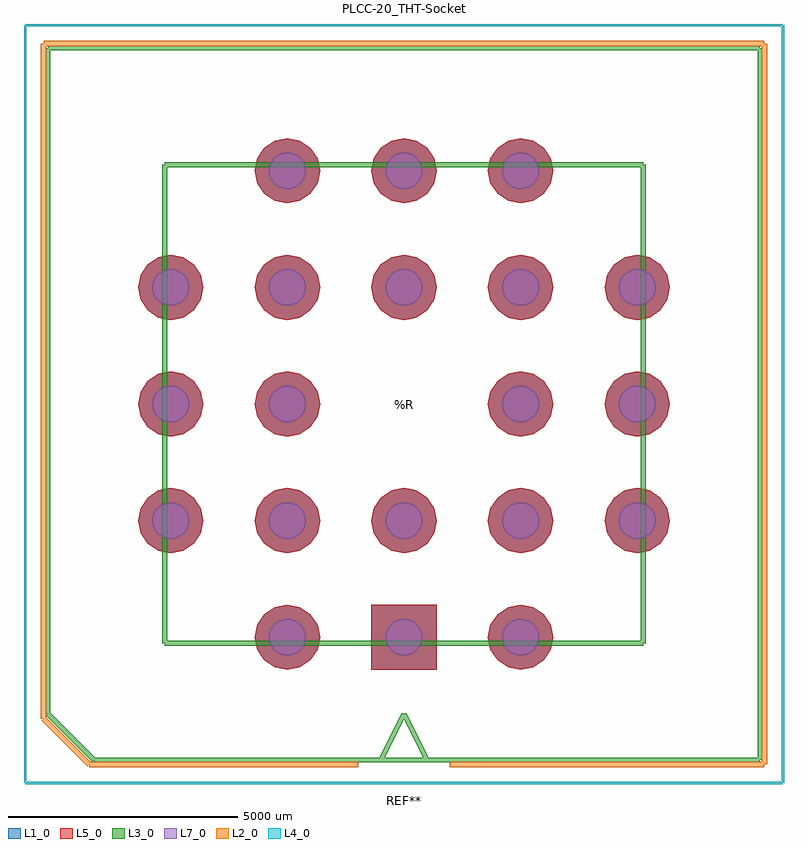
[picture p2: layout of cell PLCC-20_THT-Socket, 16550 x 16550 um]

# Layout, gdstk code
import gdstk
lib = gdstk.Library(unit=1e-6, precision=1e-09)
def R(c, l, rs):  # rectangles x0, y0, x1, y1
    for r in rs: c.add(gdstk.rectangle(r[:2], r[2:], *l))
def P(c, l, *ps):  # polygons
    for p in ps: c.add(gdstk.Polygon(p, *l))
L1_0 = (1, 0)
L2_0 = (2, 0)
L3_0 = (3, 0)
L4_0 = (4, 0)
L5_0 = (5, 0)
L7_0 = (7, 0)

plcc_20_tht_socket = lib.new_cell('PLCC-20_THT-Socket')
R(plcc_20_tht_socket, L1_0, [(-711,-711,711,711)])
P(plcc_20_tht_socket, L1_0, [(711,2540),(657,2812),(503,3043),(272,3197),(0,3251),(-272,3197),(-503,3043),(-657,2812),(-711,2540),(-657,2268),(-503,2037),(-272,1883),(0,1829),(272,1883),(503,2037),(657,2268)],
  [(3251,2540),(3197,2812),(3043,3043),(2812,3197),(2540,3251),(2268,3197),(2037,3043),(1883,2812),(1829,2540),(1883,2268),(2037,2037),(2268,1883),(2540,1829),(2812,1883),(3043,2037),(3197,2268)],
  [(-1829,0),(-1883,272),(-2037,503),(-2268,657),(-2540,711),(-2812,657),(-3043,503),(-3197,272),(-3251,0),(-3197,-272),(-3043,-503),(-2812,-657),(-2540,-711),(-2268,-657),(-2037,-503),(-1883,-272)],
  [(-1829,2540),(-1883,2812),(-2037,3043),(-2268,3197),(-2540,3251),(-2812,3197),(-3043,3043),(-3197,2812),(-3251,2540),(-3197,2268),(-3043,2037),(-2812,1883),(-2540,1829),(-2268,1883),(-2037,2037),(-1883,2268)],
  [(-1829,5080),(-1883,5352),(-2037,5583),(-2268,5737),(-2540,5791),(-2812,5737),(-3043,5583),(-3197,5352),(-3251,5080),(-3197,4808),(-3043,4577),(-2812,4423),(-2540,4369),(-2268,4423),(-2037,4577),(-1883,4808)],
  [(-4369,2540),(-4423,2812),(-4577,3043),(-4808,3197),(-5080,3251),(-5352,3197),(-5583,3043),(-5737,2812),(-5791,2540),(-5737,2268),(-5583,2037),(-5352,1883),(-5080,1829),(-4808,1883),(-4577,2037),(-4423,2268)],
  [(-4369,5080),(-4423,5352),(-4577,5583),(-4808,5737),(-5080,5791),(-5352,5737),(-5583,5583),(-5737,5352),(-5791,5080),(-5737,4808),(-5583,4577),(-5352,4423),(-5080,4369),(-4808,4423),(-4577,4577),(-4423,4808)],
  [(-4369,7620),(-4423,7892),(-4577,8123),(-4808,8277),(-5080,8331),(-5352,8277),(-5583,8123),(-5737,7892),(-5791,7620),(-5737,7348),(-5583,7117),(-5352,6963),(-5080,6909),(-4808,6963),(-4577,7117),(-4423,7348)],
  [(-1829,7620),(-1883,7892),(-2037,8123),(-2268,8277),(-2540,8331),(-2812,8277),(-3043,8123),(-3197,7892),(-3251,7620),(-3197,7348),(-3043,7117),(-2812,6963),(-2540,6909),(-2268,6963),(-2037,7117),(-1883,7348)],
  [(711,7620),(657,7892),(503,8123),(272,8277),(0,8331),(-272,8277),(-503,8123),(-657,7892),(-711,7620),(-657,7348),(-503,7117),(-272,6963),(0,6909),(272,6963),(503,7117),(657,7348)],
  [(5791,7620),(5737,7892),(5583,8123),(5352,8277),(5080,8331),(4808,8277),(4577,8123),(4423,7892),(4369,7620),(4423,7348),(4577,7117),(4808,6963),(5080,6909),(5352,6963),(5583,7117),(5737,7348)],
  [(-1829,10160),(-1883,10432),(-2037,10663),(-2268,10817),(-2540,10871),(-2812,10817),(-3043,10663),(-3197,10432),(-3251,10160),(-3197,9888),(-3043,9657),(-2812,9503),(-2540,9449),(-2268,9503),(-2037,9657),(-1883,9888)],
  [(711,10160),(657,10432),(503,10663),(272,10817),(0,10871),(-272,10817),(-503,10663),(-657,10432),(-711,10160),(-657,9888),(-503,9657),(-272,9503),(0,9449),(272,9503),(503,9657),(657,9888)],
  [(3251,10160),(3197,10432),(3043,10663),(2812,10817),(2540,10871),(2268,10817),(2037,10663),(1883,10432),(1829,10160),(1883,9888),(2037,9657),(2268,9503),(2540,9449),(2812,9503),(3043,9657),(3197,9888)],
  [(3251,7620),(3197,7892),(3043,8123),(2812,8277),(2540,8331),(2268,8277),(2037,8123),(1883,7892),(1829,7620),(1883,7348),(2037,7117),(2268,6963),(2540,6909),(2812,6963),(3043,7117),(3197,7348)],
  [(3251,5080),(3197,5352),(3043,5583),(2812,5737),(2540,5791),(2268,5737),(2037,5583),(1883,5352),(1829,5080),(1883,4808),(2037,4577),(2268,4423),(2540,4369),(2812,4423),(3043,4577),(3197,4808)],
  [(3251,0),(3197,272),(3043,503),(2812,657),(2540,711),(2268,657),(2037,503),(1883,272),(1829,0),(1883,-272),(2037,-503),(2268,-657),(2540,-711),(2812,-657),(3043,-503),(3197,-272)],
  [(5791,5080),(5737,5352),(5583,5583),(5352,5737),(5080,5791),(4808,5737),(4577,5583),(4423,5352),(4369,5080),(4423,4808),(4577,4577),(4808,4423),(5080,4369),(5352,4423),(5583,4577),(5737,4808)],
  [(5791,2540),(5737,2812),(5583,3043),(5352,3197),(5080,3251),(4808,3197),(4577,3043),(4423,2812),(4369,2540),(4423,2268),(4577,2037),(4808,1883),(5080,1829),(5352,1883),(5583,2037),(5737,2268)])
R(plcc_20_tht_socket, L5_0, [(-711,-711,711,711)])
P(plcc_20_tht_socket, L5_0, [(711,2540),(657,2812),(503,3043),(272,3197),(0,3251),(-272,3197),(-503,3043),(-657,2812),(-711,2540),(-657,2268),(-503,2037),(-272,1883),(0,1829),(272,1883),(503,2037),(657,2268)],
  [(3251,2540),(3197,2812),(3043,3043),(2812,3197),(2540,3251),(2268,3197),(2037,3043),(1883,2812),(1829,2540),(1883,2268),(2037,2037),(2268,1883),(2540,1829),(2812,1883),(3043,2037),(3197,2268)],
  [(-1829,0),(-1883,272),(-2037,503),(-2268,657),(-2540,711),(-2812,657),(-3043,503),(-3197,272),(-3251,0),(-3197,-272),(-3043,-503),(-2812,-657),(-2540,-711),(-2268,-657),(-2037,-503),(-1883,-272)],
  [(-1829,2540),(-1883,2812),(-2037,3043),(-2268,3197),(-2540,3251),(-2812,3197),(-3043,3043),(-3197,2812),(-3251,2540),(-3197,2268),(-3043,2037),(-2812,1883),(-2540,1829),(-2268,1883),(-2037,2037),(-1883,2268)],
  [(-1829,5080),(-1883,5352),(-2037,5583),(-2268,5737),(-2540,5791),(-2812,5737),(-3043,5583),(-3197,5352),(-3251,5080),(-3197,4808),(-3043,4577),(-2812,4423),(-2540,4369),(-2268,4423),(-2037,4577),(-1883,4808)],
  [(-4369,2540),(-4423,2812),(-4577,3043),(-4808,3197),(-5080,3251),(-5352,3197),(-5583,3043),(-5737,2812),(-5791,2540),(-5737,2268),(-5583,2037),(-5352,1883),(-5080,1829),(-4808,1883),(-4577,2037),(-4423,2268)],
  [(-4369,5080),(-4423,5352),(-4577,5583),(-4808,5737),(-5080,5791),(-5352,5737),(-5583,5583),(-5737,5352),(-5791,5080),(-5737,4808),(-5583,4577),(-5352,4423),(-5080,4369),(-4808,4423),(-4577,4577),(-4423,4808)],
  [(-4369,7620),(-4423,7892),(-4577,8123),(-4808,8277),(-5080,8331),(-5352,8277),(-5583,8123),(-5737,7892),(-5791,7620),(-5737,7348),(-5583,7117),(-5352,6963),(-5080,6909),(-4808,6963),(-4577,7117),(-4423,7348)],
  [(-1829,7620),(-1883,7892),(-2037,8123),(-2268,8277),(-2540,8331),(-2812,8277),(-3043,8123),(-3197,7892),(-3251,7620),(-3197,7348),(-3043,7117),(-2812,6963),(-2540,6909),(-2268,6963),(-2037,7117),(-1883,7348)],
  [(711,7620),(657,7892),(503,8123),(272,8277),(0,8331),(-272,8277),(-503,8123),(-657,7892),(-711,7620),(-657,7348),(-503,7117),(-272,6963),(0,6909),(272,6963),(503,7117),(657,7348)],
  [(5791,7620),(5737,7892),(5583,8123),(5352,8277),(5080,8331),(4808,8277),(4577,8123),(4423,7892),(4369,7620),(4423,7348),(4577,7117),(4808,6963),(5080,6909),(5352,6963),(5583,7117),(5737,7348)],
  [(-1829,10160),(-1883,10432),(-2037,10663),(-2268,10817),(-2540,10871),(-2812,10817),(-3043,10663),(-3197,10432),(-3251,10160),(-3197,9888),(-3043,9657),(-2812,9503),(-2540,9449),(-2268,9503),(-2037,9657),(-1883,9888)],
  [(711,10160),(657,10432),(503,10663),(272,10817),(0,10871),(-272,10817),(-503,10663),(-657,10432),(-711,10160),(-657,9888),(-503,9657),(-272,9503),(0,9449),(272,9503),(503,9657),(657,9888)],
  [(3251,10160),(3197,10432),(3043,10663),(2812,10817),(2540,10871),(2268,10817),(2037,10663),(1883,10432),(1829,10160),(1883,9888),(2037,9657),(2268,9503),(2540,9449),(2812,9503),(3043,9657),(3197,9888)],
  [(3251,7620),(3197,7892),(3043,8123),(2812,8277),(2540,8331),(2268,8277),(2037,8123),(1883,7892),(1829,7620),(1883,7348),(2037,7117),(2268,6963),(2540,6909),(2812,6963),(3043,7117),(3197,7348)],
  [(3251,5080),(3197,5352),(3043,5583),(2812,5737),(2540,5791),(2268,5737),(2037,5583),(1883,5352),(1829,5080),(1883,4808),(2037,4577),(2268,4423),(2540,4369),(2812,4423),(3043,4577),(3197,4808)],
  [(3251,0),(3197,272),(3043,503),(2812,657),(2540,711),(2268,657),(2037,503),(1883,272),(1829,0),(1883,-272),(2037,-503),(2268,-657),(2540,-711),(2812,-657),(3043,-503),(3197,-272)],
  [(5791,5080),(5737,5352),(5583,5583),(5352,5737),(5080,5791),(4808,5737),(4577,5583),(4423,5352),(4369,5080),(4423,4808),(4577,4577),(4808,4423),(5080,4369),(5352,4423),(5583,4577),(5737,4808)],
  [(5791,2540),(5737,2812),(5583,3043),(5352,3197),(5080,3251),(4808,3197),(4577,3043),(4423,2812),(4369,2540),(4423,2268),(4577,2037),(4808,1883),(5080,1829),(5352,1883),(5583,2037),(5737,2268)])
P(plcc_20_tht_socket, L7_0, [(400,2540),(392,2618),(370,2693),(333,2762),(283,2823),(222,2873),(153,2910),(78,2932),(0,2940),(-78,2932),(-153,2910),(-222,2873),(-283,2823),(-333,2762),(-370,2693),(-392,2618),(-400,2540),(-392,2462),(-370,2387),(-333,2318),(-283,2257),(-222,2207),(-153,2170),(-78,2148),(0,2140),(78,2148),(153,2170),(222,2207),(283,2257),(333,2318),(370,2387),(392,2462)],
  [(2940,2540),(2932,2618),(2910,2693),(2873,2762),(2823,2823),(2762,2873),(2693,2910),(2618,2932),(2540,2940),(2462,2932),(2387,2910),(2318,2873),(2257,2823),(2207,2762),(2170,2693),(2148,2618),(2140,2540),(2148,2462),(2170,2387),(2207,2318),(2257,2257),(2318,2207),(2387,2170),(2462,2148),(2540,2140),(2618,2148),(2693,2170),(2762,2207),(2823,2257),(2873,2318),(2910,2387),(2932,2462)],
  [(400,0),(392,78),(370,153),(333,222),(283,283),(222,333),(153,370),(78,392),(0,400),(-78,392),(-153,370),(-222,333),(-283,283),(-333,222),(-370,153),(-392,78),(-400,0),(-392,-78),(-370,-153),(-333,-222),(-283,-283),(-222,-333),(-153,-370),(-78,-392),(0,-400),(78,-392),(153,-370),(222,-333),(283,-283),(333,-222),(370,-153),(392,-78)],
  [(-2140,0),(-2148,78),(-2170,153),(-2207,222),(-2257,283),(-2318,333),(-2387,370),(-2462,392),(-2540,400),(-2618,392),(-2693,370),(-2762,333),(-2823,283),(-2873,222),(-2910,153),(-2932,78),(-2940,0),(-2932,-78),(-2910,-153),(-2873,-222),(-2823,-283),(-2762,-333),(-2693,-370),(-2618,-392),(-2540,-400),(-2462,-392),(-2387,-370),(-2318,-333),(-2257,-283),(-2207,-222),(-2170,-153),(-2148,-78)],
  [(-2140,2540),(-2148,2618),(-2170,2693),(-2207,2762),(-2257,2823),(-2318,2873),(-2387,2910),(-2462,2932),(-2540,2940),(-2618,2932),(-2693,2910),(-2762,2873),(-2823,2823),(-2873,2762),(-2910,2693),(-2932,2618),(-2940,2540),(-2932,2462),(-2910,2387),(-2873,2318),(-2823,2257),(-2762,2207),(-2693,2170),(-2618,2148),(-2540,2140),(-2462,2148),(-2387,2170),(-2318,2207),(-2257,2257),(-2207,2318),(-2170,2387),(-2148,2462)],
  [(-2140,5080),(-2148,5158),(-2170,5233),(-2207,5302),(-2257,5363),(-2318,5413),(-2387,5450),(-2462,5472),(-2540,5480),(-2618,5472),(-2693,5450),(-2762,5413),(-2823,5363),(-2873,5302),(-2910,5233),(-2932,5158),(-2940,5080),(-2932,5002),(-2910,4927),(-2873,4858),(-2823,4797),(-2762,4747),(-2693,4710),(-2618,4688),(-2540,4680),(-2462,4688),(-2387,4710),(-2318,4747),(-2257,4797),(-2207,4858),(-2170,4927),(-2148,5002)],
  [(-4680,2540),(-4688,2618),(-4710,2693),(-4747,2762),(-4797,2823),(-4858,2873),(-4927,2910),(-5002,2932),(-5080,2940),(-5158,2932),(-5233,2910),(-5302,2873),(-5363,2823),(-5413,2762),(-5450,2693),(-5472,2618),(-5480,2540),(-5472,2462),(-5450,2387),(-5413,2318),(-5363,2257),(-5302,2207),(-5233,2170),(-5158,2148),(-5080,2140),(-5002,2148),(-4927,2170),(-4858,2207),(-4797,2257),(-4747,2318),(-4710,2387),(-4688,2462)],
  [(-4680,5080),(-4688,5158),(-4710,5233),(-4747,5302),(-4797,5363),(-4858,5413),(-4927,5450),(-5002,5472),(-5080,5480),(-5158,5472),(-5233,5450),(-5302,5413),(-5363,5363),(-5413,5302),(-5450,5233),(-5472,5158),(-5480,5080),(-5472,5002),(-5450,4927),(-5413,4858),(-5363,4797),(-5302,4747),(-5233,4710),(-5158,4688),(-5080,4680),(-5002,4688),(-4927,4710),(-4858,4747),(-4797,4797),(-4747,4858),(-4710,4927),(-4688,5002)],
  [(-4680,7620),(-4688,7698),(-4710,7773),(-4747,7842),(-4797,7903),(-4858,7953),(-4927,7990),(-5002,8012),(-5080,8020),(-5158,8012),(-5233,7990),(-5302,7953),(-5363,7903),(-5413,7842),(-5450,7773),(-5472,7698),(-5480,7620),(-5472,7542),(-5450,7467),(-5413,7398),(-5363,7337),(-5302,7287),(-5233,7250),(-5158,7228),(-5080,7220),(-5002,7228),(-4927,7250),(-4858,7287),(-4797,7337),(-4747,7398),(-4710,7467),(-4688,7542)],
  [(-2140,7620),(-2148,7698),(-2170,7773),(-2207,7842),(-2257,7903),(-2318,7953),(-2387,7990),(-2462,8012),(-2540,8020),(-2618,8012),(-2693,7990),(-2762,7953),(-2823,7903),(-2873,7842),(-2910,7773),(-2932,7698),(-2940,7620),(-2932,7542),(-2910,7467),(-2873,7398),(-2823,7337),(-2762,7287),(-2693,7250),(-2618,7228),(-2540,7220),(-2462,7228),(-2387,7250),(-2318,7287),(-2257,7337),(-2207,7398),(-2170,7467),(-2148,7542)],
  [(400,7620),(392,7698),(370,7773),(333,7842),(283,7903),(222,7953),(153,7990),(78,8012),(0,8020),(-78,8012),(-153,7990),(-222,7953),(-283,7903),(-333,7842),(-370,7773),(-392,7698),(-400,7620),(-392,7542),(-370,7467),(-333,7398),(-283,7337),(-222,7287),(-153,7250),(-78,7228),(0,7220),(78,7228),(153,7250),(222,7287),(283,7337),(333,7398),(370,7467),(392,7542)],
  [(5480,7620),(5472,7698),(5450,7773),(5413,7842),(5363,7903),(5302,7953),(5233,7990),(5158,8012),(5080,8020),(5002,8012),(4927,7990),(4858,7953),(4797,7903),(4747,7842),(4710,7773),(4688,7698),(4680,7620),(4688,7542),(4710,7467),(4747,7398),(4797,7337),(4858,7287),(4927,7250),(5002,7228),(5080,7220),(5158,7228),(5233,7250),(5302,7287),(5363,7337),(5413,7398),(5450,7467),(5472,7542)],
  [(-2140,10160),(-2148,10238),(-2170,10313),(-2207,10382),(-2257,10443),(-2318,10493),(-2387,10530),(-2462,10552),(-2540,10560),(-2618,10552),(-2693,10530),(-2762,10493),(-2823,10443),(-2873,10382),(-2910,10313),(-2932,10238),(-2940,10160),(-2932,10082),(-2910,10007),(-2873,9938),(-2823,9877),(-2762,9827),(-2693,9790),(-2618,9768),(-2540,9760),(-2462,9768),(-2387,9790),(-2318,9827),(-2257,9877),(-2207,9938),(-2170,10007),(-2148,10082)],
  [(400,10160),(392,10238),(370,10313),(333,10382),(283,10443),(222,10493),(153,10530),(78,10552),(0,10560),(-78,10552),(-153,10530),(-222,10493),(-283,10443),(-333,10382),(-370,10313),(-392,10238),(-400,10160),(-392,10082),(-370,10007),(-333,9938),(-283,9877),(-222,9827),(-153,9790),(-78,9768),(0,9760),(78,9768),(153,9790),(222,9827),(283,9877),(333,9938),(370,10007),(392,10082)],
  [(2940,10160),(2932,10238),(2910,10313),(2873,10382),(2823,10443),(2762,10493),(2693,10530),(2618,10552),(2540,10560),(2462,10552),(2387,10530),(2318,10493),(2257,10443),(2207,10382),(2170,10313),(2148,10238),(2140,10160),(2148,10082),(2170,10007),(2207,9938),(2257,9877),(2318,9827),(2387,9790),(2462,9768),(2540,9760),(2618,9768),(2693,9790),(2762,9827),(2823,9877),(2873,9938),(2910,10007),(2932,10082)],
  [(2940,7620),(2932,7698),(2910,7773),(2873,7842),(2823,7903),(2762,7953),(2693,7990),(2618,8012),(2540,8020),(2462,8012),(2387,7990),(2318,7953),(2257,7903),(2207,7842),(2170,7773),(2148,7698),(2140,7620),(2148,7542),(2170,7467),(2207,7398),(2257,7337),(2318,7287),(2387,7250),(2462,7228),(2540,7220),(2618,7228),(2693,7250),(2762,7287),(2823,7337),(2873,7398),(2910,7467),(2932,7542)],
  [(2940,5080),(2932,5158),(2910,5233),(2873,5302),(2823,5363),(2762,5413),(2693,5450),(2618,5472),(2540,5480),(2462,5472),(2387,5450),(2318,5413),(2257,5363),(2207,5302),(2170,5233),(2148,5158),(2140,5080),(2148,5002),(2170,4927),(2207,4858),(2257,4797),(2318,4747),(2387,4710),(2462,4688),(2540,4680),(2618,4688),(2693,4710),(2762,4747),(2823,4797),(2873,4858),(2910,4927),(2932,5002)],
  [(2940,0),(2932,78),(2910,153),(2873,222),(2823,283),(2762,333),(2693,370),(2618,392),(2540,400),(2462,392),(2387,370),(2318,333),(2257,283),(2207,222),(2170,153),(2148,78),(2140,0),(2148,-78),(2170,-153),(2207,-222),(2257,-283),(2318,-333),(2387,-370),(2462,-392),(2540,-400),(2618,-392),(2693,-370),(2762,-333),(2823,-283),(2873,-222),(2910,-153),(2932,-78)],
  [(5480,5080),(5472,5158),(5450,5233),(5413,5302),(5363,5363),(5302,5413),(5233,5450),(5158,5472),(5080,5480),(5002,5472),(4927,5450),(4858,5413),(4797,5363),(4747,5302),(4710,5233),(4688,5158),(4680,5080),(4688,5002),(4710,4927),(4747,4858),(4797,4797),(4858,4747),(4927,4710),(5002,4688),(5080,4680),(5158,4688),(5233,4710),(5302,4747),(5363,4797),(5413,4858),(5450,4927),(5472,5002)],
  [(5480,2540),(5472,2618),(5450,2693),(5413,2762),(5363,2823),(5302,2873),(5233,2910),(5158,2932),(5080,2940),(5002,2932),(4927,2910),(4858,2873),(4797,2823),(4747,2762),(4710,2693),(4688,2618),(4680,2540),(4688,2462),(4710,2387),(4747,2318),(4797,2257),(4858,2207),(4927,2170),(5002,2148),(5080,2140),(5158,2148),(5233,2170),(5302,2207),(5363,2257),(5413,2318),(5450,2387),(5472,2462)])
plcc_20_tht_socket.add(gdstk.FlexPath([(-6750,-2670),(-7750,-1670)], 100, ends="flush", simple_path=True, layer=3, datatype=0))  # L3_0
plcc_20_tht_socket.add(gdstk.FlexPath([(-7750,-1670),(-7750,12830)], 100, ends="flush", simple_path=True, layer=3, datatype=0))  # L3_0
plcc_20_tht_socket.add(gdstk.FlexPath([(-7750,12830),(7750,12830)], 100, ends="flush", simple_path=True, layer=3, datatype=0))  # L3_0
plcc_20_tht_socket.add(gdstk.FlexPath([(7750,12830),(7750,-2670)], 100, ends="flush", simple_path=True, layer=3, datatype=0))  # L3_0
plcc_20_tht_socket.add(gdstk.FlexPath([(7750,-2670),(-6750,-2670)], 100, ends="flush", simple_path=True, layer=3, datatype=0))  # L3_0
plcc_20_tht_socket.add(gdstk.FlexPath([(-8250,-3170),(-8250,13330)], 50, ends="flush", simple_path=True, layer=4, datatype=0))  # L4_0
plcc_20_tht_socket.add(gdstk.FlexPath([(-8250,13330),(8250,13330)], 50, ends="flush", simple_path=True, layer=4, datatype=0))  # L4_0
plcc_20_tht_socket.add(gdstk.FlexPath([(8250,13330),(8250,-3170)], 50, ends="flush", simple_path=True, layer=4, datatype=0))  # L4_0
plcc_20_tht_socket.add(gdstk.FlexPath([(8250,-3170),(-8250,-3170)], 50, ends="flush", simple_path=True, layer=4, datatype=0))  # L4_0
plcc_20_tht_socket.add(gdstk.FlexPath([(-5210,-130),(-5210,10290)], 100, ends="flush", simple_path=True, layer=3, datatype=0))  # L3_0
plcc_20_tht_socket.add(gdstk.FlexPath([(-5210,10290),(5210,10290)], 100, ends="flush", simple_path=True, layer=3, datatype=0))  # L3_0
plcc_20_tht_socket.add(gdstk.FlexPath([(5210,10290),(5210,-130)], 100, ends="flush", simple_path=True, layer=3, datatype=0))  # L3_0
plcc_20_tht_socket.add(gdstk.FlexPath([(5210,-130),(-5210,-130)], 100, ends="flush", simple_path=True, layer=3, datatype=0))  # L3_0
plcc_20_tht_socket.add(gdstk.FlexPath([(-500,-2670),(0,-1670)], 100, ends="flush", simple_path=True, layer=3, datatype=0))  # L3_0
plcc_20_tht_socket.add(gdstk.FlexPath([(0,-1670),(500,-2670)], 100, ends="flush", simple_path=True, layer=3, datatype=0))  # L3_0
plcc_20_tht_socket.add(gdstk.FlexPath([(-1000,-2770),(-6850,-2770)], 120, ends="flush", simple_path=True, layer=2, datatype=0))  # L2_0
plcc_20_tht_socket.add(gdstk.FlexPath([(-6850,-2770),(-7850,-1770)], 120, ends="flush", simple_path=True, layer=2, datatype=0))  # L2_0
plcc_20_tht_socket.add(gdstk.FlexPath([(-7850,-1770),(-7850,12930)], 120, ends="flush", simple_path=True, layer=2, datatype=0))  # L2_0
plcc_20_tht_socket.add(gdstk.FlexPath([(-7850,12930),(7850,12930)], 120, ends="flush", simple_path=True, layer=2, datatype=0))  # L2_0
plcc_20_tht_socket.add(gdstk.FlexPath([(7850,12930),(7850,-2770)], 120, ends="flush", simple_path=True, layer=2, datatype=0))  # L2_0
plcc_20_tht_socket.add(gdstk.FlexPath([(7850,-2770),(1000,-2770)], 120, ends="flush", simple_path=True, layer=2, datatype=0))  # L2_0
plcc_20_tht_socket.add(gdstk.Label('REF**', (0,-3670), layer=2, texttype=0))
plcc_20_tht_socket.add(gdstk.Label('PLCC-20_THT-Socket', (0,13830), layer=3, texttype=0))
plcc_20_tht_socket.add(gdstk.Label('%R', (0,5080), layer=3, texttype=0))

lib.write_gds('PLCC-20_THT-Socket.gds')
